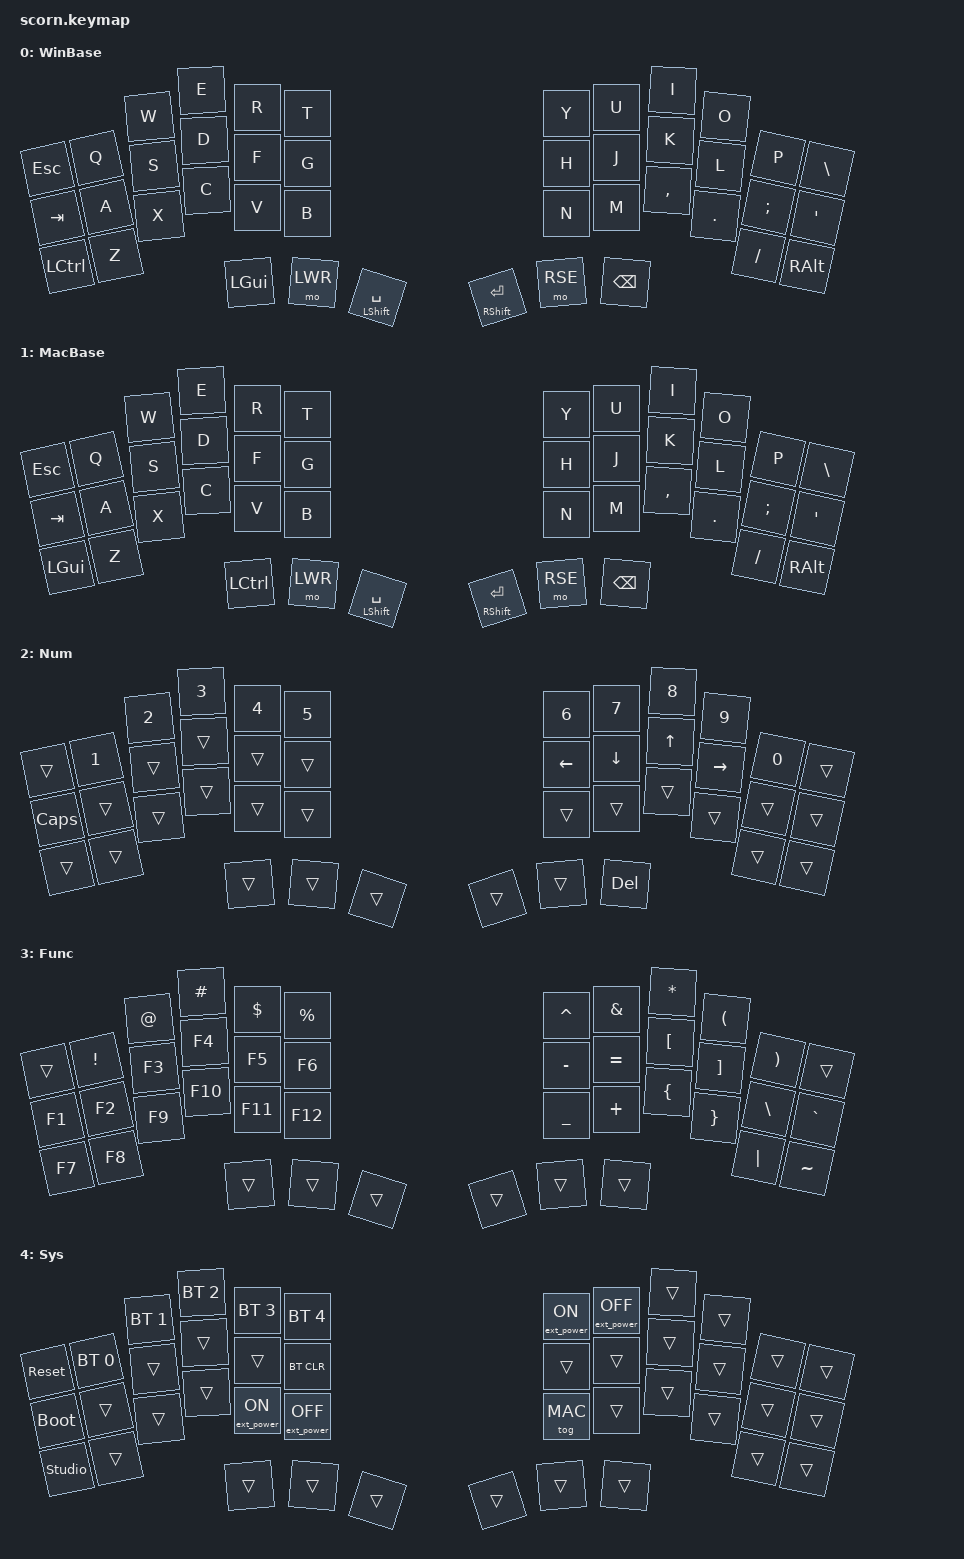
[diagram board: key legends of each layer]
#include <behaviors.dtsi>
#include <dt-bindings/zmk/keys.h>
#include <dt-bindings/zmk/bt.h>
#include <dt-bindings/zmk/outputs.h>
#include <dt-bindings/zmk/ext_power.h>

#define WIN 0
#define MAC 1
#define LWR 2
#define RSE 3
#define SYS 4

/ {

    conditional_layers {
        compatible = "zmk,conditional-layers";
        tri_layer {
            if-layers = <LWR RSE>;
            then-layer = <SYS>;
        };
    };
        keymap {
                compatible = "zmk,keymap";

                winbase {
                    display-name = "WinBase";
// -----------------------------------------------------------------------------------------
// | ESC  |  Q  |  W  |  E  |  R  |  T  |   |  Y  |  U   |  I  |  O  |  P  | BSLH |
// | TAB  |  A  |  S  |  D  |  F  |  G  |   |  H  |  J   |  K  |  L  |  ;  |  '   |
// | CTRL |  Z  |  X  |  C  |  V  |  B  |   |  N  |  M   |  ,  |  .  |  /  | RALT |
//                    | GUI | LWR | SPC |   | ENT | RSE  | BSPC|
                        bindings = <
   &kp ESC   &kp Q &kp W &kp E    &kp R   &kp T              &kp Y          &kp U   &kp I     &kp O   &kp P    &kp BSLH
   &kp TAB   &kp A &kp S &kp D    &kp F   &kp G              &kp H          &kp J   &kp K     &kp L   &kp SEMI &kp SQT
   &kp LCTRL &kp Z &kp X &kp C    &kp V   &kp B              &kp N          &kp M   &kp COMMA &kp DOT &kp FSLH &kp RALT
                         &kp LGUI &mo LWR &mt LSHIFT SPACE   &mt RSHIFT RET &mo RSE &kp BSPC
                        >;
                };

                macbase {
                    display-name = "MacBase";               
// -----------------------------------------------------------------------------------------
// | ESC  |  Q  |  W  |  E   |  R  |  T  |   |  Y  |  U   |  I  |  O  |  P  | BSLH |
// | TAB  |  A  |  S  |  D   |  F  |  G  |   |  H  |  J   |  K  |  L  |  ;  |  '   |
// | GUI  |  Z  |  X  |  C   |  V  |  B  |   |  N  |  M   |  ,  |  .  |  /  | RALT |
//                    | CTRL | LWR | SPC |   | ENT | RSE  | BSPC|
                        bindings = <
   &kp ESC   &kp Q &kp W &kp E    &kp R   &kp T              &kp Y          &kp U   &kp I     &kp O   &kp P    &kp BSLH
   &kp TAB   &kp A &kp S &kp D    &kp F   &kp G              &kp H          &kp J   &kp K     &kp L   &kp SEMI &kp SQT
   &kp LGUI &kp Z &kp X &kp C    &kp V   &kp B              &kp N          &kp M   &kp COMMA &kp DOT &kp FSLH &kp RALT
                         &kp LCTRL &mo LWR &mt LSHIFT SPACE   &mt RSHIFT RET &mo RSE &kp BSPC
                        >;
                };

                lower {
                    display-name = "Num";
// -----------------------------------------------------------------------------------------
// |      |  1  |  2  |  3  |  4  |  5  |   |  6  |  7  |  8  |  9  |  0  |      |
// | CAPS |     |     |     |     |     |   | LFT | DWN |  UP | RGT |     |      |
// |      |     |     |     |     |     |   |     |     |     |     |     |      |
//                    |     |     |     |   |     |     | DEL |
                        bindings = <
   &trans   &kp N1   &kp N2    &kp N3   &kp N4   &kp N5    &kp N6   &kp N7   &kp N8  &kp N9    &kp N0  &trans
   &kp CAPS &trans   &trans    &trans   &trans   &trans    &kp LEFT &kp DOWN &kp UP  &kp RIGHT &trans  &trans
   &trans   &trans   &trans    &trans   &trans   &trans    &trans   &trans   &trans  &trans    &trans  &trans
                               &trans   &trans   &trans    &trans   &trans   &kp DEL
                        >;
                };

                raise {
                    display-name = "Func";
// -----------------------------------------------------------------------------------------
// |     |  !  |  @  |  #  |  $  |  %  |   |  ^  |  &  |  *  |  (  |  )  |      |
// | F1  | F2  | F3  | F4  | F5  | F6  |   |  -  |  =  |  [  |  ]  |  \  |  `   |
// | F7  | F8  | F9  | F10 | F11 | F12 |   |  _  |  +  |  {  |  }  | "|" |  ~   |
//                    | GUI |     | SPC |   | ENT |     | ALT |
                        bindings = <
   &trans  &kp EXCL &kp AT &kp HASH &kp DLLR &kp PRCNT   &kp CARET &kp AMPS  &kp ASTRK &kp LPAR &kp RPAR &trans
   &kp F1  &kp F2   &kp F3 &kp F4   &kp F5   &kp F6      &kp MINUS &kp EQUAL &kp LBKT  &kp RBKT &kp BSLH &kp GRAVE
   &kp F7  &kp F8   &kp F9 &kp F10  &kp F11  &kp F12     &kp UNDER &kp PLUS  &kp LBRC  &kp RBRC &kp PIPE &kp TILDE
                           &trans   &trans   &trans      &trans    &trans    &trans
                        >;
                };
                system {
                    display-name = "Sys";
// -----------------------------------------------------------------------------------------
// | RST  | BT0 | BT1 | BT2 | BT3 | BT4   |     |    |     |     |     |     |     |
// | BLDR |     |     |     |     | BTCLR |     |    |     |     |     |     |     |
// | STU  |     |     |     |     |       | MAC |    |     |     |     |     |     |
//                    |     |     |       |     |    |     |     |
                        bindings = <
   &sys_reset     &bt BT_SEL 0  &bt BT_SEL 1 &bt BT_SEL 2 &bt BT_SEL 3 &bt BT_SEL 4   &ext_power EP_ON   &ext_power EP_OFF   &trans    &trans   &trans   &trans
   &bootloader    &trans        &trans       &trans       &trans       &bt BT_CLR     &trans   &trans   &trans    &trans   &trans   &trans
   &studio_unlock &trans        &trans       &trans       &ext_power EP_ON       &ext_power EP_OFF         &tog MAC   &trans   &trans    &trans   &trans   &trans
                                             &trans       &trans       &trans         &trans   &trans   &trans
                        >;
                };
        };
};

// Override the CS pin for the nice!view - D4 on the ProMicro = 022 Nice!Nano
&nice_view_spi {
    cs-gpios = <&pro_micro 4 GPIO_ACTIVE_HIGH>;
};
